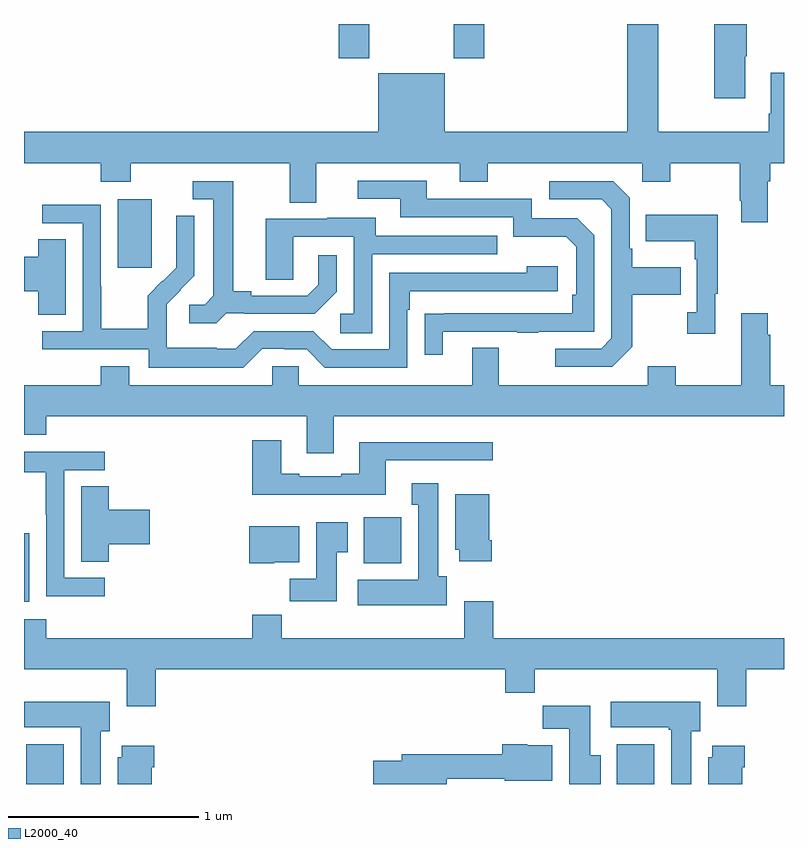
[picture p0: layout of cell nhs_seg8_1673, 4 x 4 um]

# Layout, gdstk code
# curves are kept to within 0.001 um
import gdstk
lib = gdstk.Library(unit=1e-6, precision=1e-09)
def R(c, l, rs):  # rectangles x0, y0, x1, y1
    for r in rs: c.add(gdstk.rectangle(r[:2], r[2:], *l))
def P(c, l, *ps):  # polygons
    for p in ps: c.add(gdstk.Polygon(p, *l))
L2000_40 = (2000, 40)

nhs_seg8_1673 = lib.new_cell('nhs_seg8_1673')
R(nhs_seg8_1673, L2000_40, [(217.013,1111.9,217.21,1112.11), (220.121,1111.9,220.318,1112.11), (217,1112.858,217.027,1113.219), (218.789,1113.062,218.986,1113.304), (217.493,1114.617,217.672,1114.978), (218.657,1115.721,218.817,1115.9), (219.262,1115.721,219.422,1115.9)])
P(nhs_seg8_1673, L2000_40, [(220.795,1115.731),(220.803,1115.731),(220.803,1115.9),(220.633,1115.9),(220.633,1115.508),(220.795,1115.508)],
  [(220.915,1115.072),(220.928,1115.072),(220.928,1115.168),(221,1115.168),(221,1115.644),(220.931,1115.644),(220.931,1115.428),(220.919,1115.428),(220.919,1115.332),(220.339,1115.332),(220.339,1115.9),(220.175,1115.9),(220.175,1115.332),(219.214,1115.332),(219.214,1115.641),(218.864,1115.641),(218.864,1115.332),(217,1115.332),(217,1115.168),(217.403,1115.168),(217.403,1115.069),(217.563,1115.069),(217.563,1115.168),(218.399,1115.168),(218.399,1114.96),(218.539,1114.96),(218.539,1115.168),(219.293,1115.168),(219.293,1115.069),(219.441,1115.069),(219.441,1115.168),(220.254,1115.168),(220.254,1115.069),(220.401,1115.069),(220.401,1115.168),(220.768,1115.168),(220.768,1114.969),(220.775,1114.969),(220.775,1114.857),(220.915,1114.857)],
  [(219.205,1114.281),(219.595,1114.281),(219.595,1114.276),(219.707,1114.276),(219.707,1114.281),(220.002,1114.281),(220.002,1114.788),(219.912,1114.878),(219.672,1114.878),(219.672,1114.98),(219.121,1114.98),(219.121,1115.076),(218.757,1115.076),(218.757,1114.98),(218.981,1114.98),(218.981,1114.884),(219.576,1114.884),(219.576,1114.781),(219.853,1114.781),(219.906,1114.728),(219.906,1114.474),(219.886,1114.474),(219.886,1114.377),(219.109,1114.376),(219.109,1114.158),(219.205,1114.158)],
  [(220.201,1114.201),(220.201,1114.474),(220.457,1114.474),(220.457,1114.621),(220.201,1114.621),(220.201,1114.717),(220.188,1114.717),(220.188,1114.986),(220.101,1115.073),(219.765,1115.073),(219.765,1114.977),(220.041,1114.977),(220.092,1114.926),(220.092,1114.245),(220.038,1114.191),(219.795,1114.191),(219.795,1114.095),(220.095,1114.095)],
  [(218.064,1114.377),(218.158,1114.377),(218.158,1114.374),(218.53,1114.374),(218.646,1114.49),(218.646,1114.684),(218.549,1114.684),(218.549,1114.527),(218.492,1114.47),(218.197,1114.47),(218.197,1114.493),(218.101,1114.493),(218.101,1115.073),(217.887,1115.073),(217.887,1114.977),(217.997,1114.977),(217.997,1114.469),(217.95,1114.422),(217.869,1114.422),(217.869,1114.325),(218.012,1114.325)],
  [(218.253,1114.191),(218.369,1114.191),(218.369,1114.188),(218.487,1114.188),(218.583,1114.092),(219.018,1114.092),(219.018,1114.397),(219.031,1114.397),(219.031,1114.494),(219.808,1114.494),(219.808,1114.624),(219.647,1114.624),(219.647,1114.59),(218.922,1114.59),(218.922,1114.188),(218.619,1114.188),(218.523,1114.284),(218.208,1114.284),(218.115,1114.191),(218.015,1114.191),(218.015,1114.195),(217.752,1114.195),(217.752,1114.329),(217.75,1114.329),(217.75,1114.426),(217.896,1114.574),(217.896,1114.892),(217.8,1114.892),(217.8,1114.738),(217.802,1114.738),(217.802,1114.616),(217.731,1114.545),(217.728,1114.548),(217.651,1114.471),(217.651,1114.297),(217.407,1114.297),(217.407,1114.52),(217.404,1114.52),(217.404,1114.95),(217.095,1114.95),(217.095,1114.851),(217.308,1114.851),(217.308,1114.284),(217.095,1114.284),(217.095,1114.188),(217.656,1114.188),(217.656,1114.091),(218.153,1114.091)],
  [(220.639,1114.481),(220.651,1114.481),(220.651,1114.897),(220.273,1114.897),(220.273,1114.757),(220.53,1114.757),(220.53,1114.661),(220.542,1114.661),(220.542,1114.382),(220.491,1114.382),(220.491,1114.269),(220.639,1114.269)],
  [(218.832,1114.689),(219.491,1114.689),(219.491,1114.785),(218.851,1114.785),(218.851,1114.879),(218.597,1114.879),(218.597,1114.875),(218.273,1114.875),(218.273,1114.555),(218.418,1114.555),(218.418,1114.779),(218.736,1114.779),(218.736,1114.374),(218.664,1114.374),(218.664,1114.273),(218.832,1114.273)],
  [(217.219,1114.766),(217.076,1114.766),(217.076,1114.676),(217,1114.676),(217,1114.493),(217.076,1114.493),(217.076,1114.369),(217.219,1114.369)],
  [(218.629,1113.836),(221,1113.836),(221,1114),(220.928,1114),(220.928,1114.265),(220.915,1114.265),(220.915,1114.378),(220.775,1114.378),(220.775,1114),(220.431,1114),(220.431,1114.099),(220.283,1114.099),(220.283,1114),(219.499,1114),(219.499,1114.195),(219.359,1114.195),(219.359,1114),(218.445,1114),(218.445,1114.098),(218.307,1114.098),(218.307,1114),(217.555,1114),(217.555,1114.099),(217.403,1114.099),(217.403,1114),(217,1114),(217,1113.737),(217.118,1113.737),(217.118,1113.836),(218.489,1113.836),(218.489,1113.642),(218.629,1113.642)],
  [(218.905,1113.603),(219.466,1113.603),(219.466,1113.7),(218.765,1113.7),(218.765,1113.532),(218.669,1113.532),(218.669,1113.519),(218.449,1113.519),(218.449,1113.532),(218.353,1113.532),(218.353,1113.709),(218.201,1113.709),(218.201,1113.422),(218.905,1113.422)],
  [(217.426,1112.985),(217.212,1112.985),(217.212,1113.552),(217.426,1113.552),(217.426,1113.648),(217,1113.648),(217,1113.54),(217.114,1113.54),(217.114,1113.316),(217.116,1113.316),(217.116,1112.887),(217.426,1112.887)],
  [(219.226,1112.994),(219.181,1112.994),(219.181,1113.484),(219.041,1113.484),(219.041,1113.371),(219.074,1113.371),(219.074,1112.974),(218.757,1112.974),(218.757,1112.84),(219.226,1112.84)],
  [(217.445,1113.161),(217.663,1113.161),(217.663,1113.344),(217.445,1113.344),(217.445,1113.467),(217.301,1113.467),(217.301,1113.07),(217.445,1113.07)],
  [(219.461,1113.184),(219.448,1113.184),(219.448,1113.424),(219.269,1113.424),(219.269,1113.132),(219.29,1113.132),(219.29,1113.072),(219.461,1113.072)],
  [(218.647,1113.121),(218.704,1113.121),(218.704,1113.277),(218.537,1113.277),(218.537,1112.98),(218.398,1112.98),(218.398,1112.862),(218.647,1112.862)],
  [(218.316,1113.068),(218.449,1113.068),(218.449,1113.256),(218.186,1113.256),(218.186,1113.062),(218.316,1113.062)],
  [(217.694,1112.504),(219.533,1112.504),(219.533,1112.38),(219.689,1112.38),(219.689,1112.504),(220.649,1112.504),(220.649,1112.31),(220.802,1112.31),(220.802,1112.504),(221,1112.504),(221,1112.668),(219.47,1112.668),(219.47,1112.863),(219.317,1112.863),(219.317,1112.668),(218.357,1112.668),(218.357,1112.792),(218.201,1112.792),(218.201,1112.668),(217.118,1112.668),(217.118,1112.767),(217,1112.767),(217,1112.504),(217.541,1112.504),(217.541,1112.31),(217.694,1112.31)],
  [(217.405,1112.178),(217.45,1112.178),(217.45,1112.332),(217,1112.332),(217,1112.198),(217.298,1112.198),(217.298,1111.9),(217.405,1111.9)],
  [(220.513,1112.178),(220.558,1112.178),(220.558,1112.332),(220.089,1112.332),(220.089,1112.198),(220.393,1112.198),(220.393,1112.185),(220.406,1112.185),(220.406,1111.9),(220.513,1111.9)],
  [(220.036,1112.052),(219.979,1112.052),(219.979,1112.311),(219.73,1112.311),(219.73,1112.192),(219.869,1112.192),(219.869,1111.9),(220.036,1111.9)],
  [(219.226,1111.927),(219.53,1111.927),(219.53,1111.916),(219.781,1111.916),(219.781,1112.104),(219.648,1112.104),(219.648,1112.11),(219.518,1112.11),(219.518,1112.056),(218.987,1112.056),(218.987,1112.022),(218.838,1112.022),(218.838,1111.9),(219.226,1111.9)],
  [(220.78,1111.988),(220.793,1111.988),(220.793,1112.101),(220.622,1112.101),(220.622,1112.04),(220.601,1112.04),(220.601,1111.9),(220.78,1111.9)],
  [(217.672,1111.988),(217.685,1111.988),(217.685,1112.101),(217.514,1112.101),(217.514,1112.04),(217.493,1112.04),(217.493,1111.9),(217.672,1111.9)])

lib.write_gds('nhs_seg8_1673.gds')
